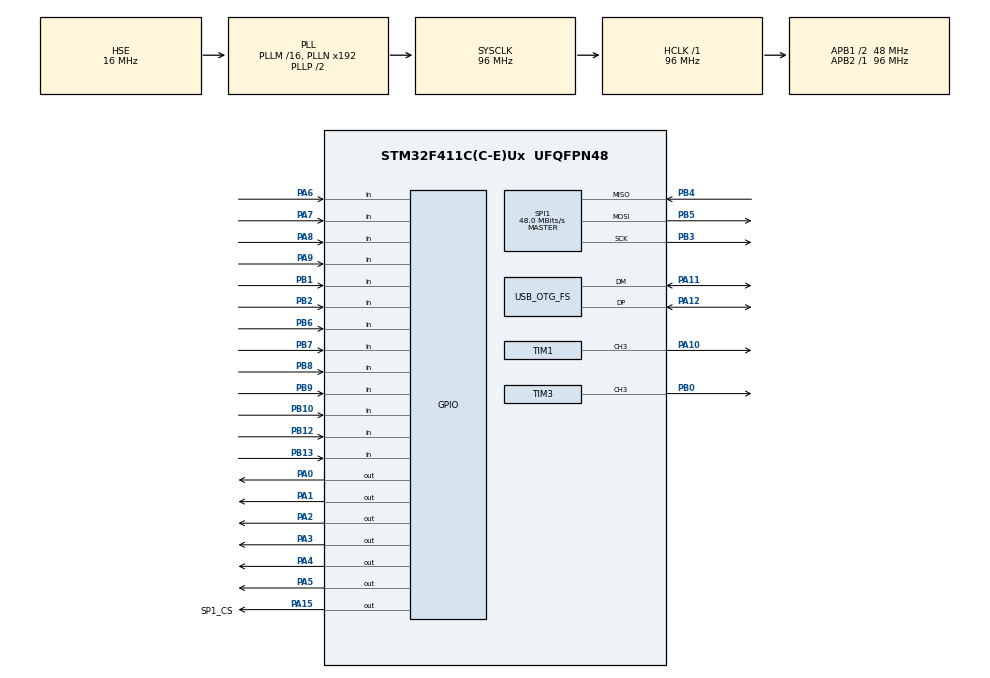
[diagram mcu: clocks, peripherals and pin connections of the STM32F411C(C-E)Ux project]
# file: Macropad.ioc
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Mcu.Family=STM32F4
Mcu.Name=STM32F411C(C-E)Ux
Mcu.Package=UFQFPN48
NVIC.OTG_FS_IRQn=true\:0\:0\:false\:false\:true\:false\:true\:true
NVIC.PriorityGroup=NVIC_PRIORITYGROUP_4
PA0-WKUP.Signal=GPIO_Output
PA1.Signal=GPIO_Output
PA10.Signal=S_TIM1_CH3
PA11.Mode=Device_Only
PA11.Signal=USB_OTG_FS_DM
PA12.Mode=Device_Only
PA12.Signal=USB_OTG_FS_DP
PA13.Mode=Serial_Wire
PA13.Signal=SYS_JTMS-SWDIO
PA14.Mode=Serial_Wire
PA14.Signal=SYS_JTCK-SWCLK
PA15.GPIO_Label=SP1_CS
PA15.Signal=GPIO_Output
PA2.Signal=GPIO_Output
PA3.Signal=GPIO_Output
PA4.Signal=GPIO_Output
PA5.Signal=GPIO_Output
PA6.Signal=GPIO_Input
PA7.Signal=GPIO_Input
PA8.Signal=GPIO_Input
PA9.Signal=GPIO_Input
PB0.Signal=S_TIM3_CH3
PB1.Signal=GPIO_Input
PB10.Signal=GPIO_Input
PB12.Signal=GPIO_Input
PB13.Signal=GPIO_Input
PB2.Signal=GPIO_Input
PB3.Mode=Full_Duplex_Master
PB3.Signal=SPI1_SCK
PB4.Mode=Full_Duplex_Master
PB4.Signal=SPI1_MISO
PB5.Mode=Full_Duplex_Master
PB5.Signal=SPI1_MOSI
PB6.Signal=GPIO_Input
PB7.Signal=GPIO_Input
PB8.Signal=GPIO_Input
PB9.Signal=GPIO_Input
PH0\ -\ OSC_IN.Mode=HSE-External-Clock-Source
PH0\ -\ OSC_IN.Signal=RCC_OSC_IN
PH1\ -\ OSC_OUT.Mode=HSE-External-Clock-Source
PH1\ -\ OSC_OUT.Signal=RCC_OSC_OUT
ProjectManager.HeapSize=0x200
ProjectManager.StackSize=0x400
ProjectManager.TargetToolchain=STM32CubeIDE
RCC.AHBFreq_Value=96000000
RCC.APB1CLKDivider=RCC_HCLK_DIV2
RCC.APB1Freq_Value=48000000
RCC.APB1TimFreq_Value=96000000
RCC.APB2Freq_Value=96000000
RCC.APB2TimFreq_Value=96000000
RCC.CortexFreq_Value=96000000
RCC.HCLKFreq_Value=96000000
RCC.HSE_VALUE=16000000
RCC.HSI_VALUE=16000000
RCC.LSE_VALUE=32768
RCC.SYSCLKFreq_VALUE=96000000
RCC.SYSCLKSource=RCC_SYSCLKSOURCE_PLLCLK
RCC.VCOOutputFreq_Value=192000000
SH.S_TIM1_CH3.0=TIM1_CH3,PWM Generation3 CH3
SH.S_TIM3_CH3.0=TIM3_CH3,PWM Generation3 CH3
SPI1.CalculateBaudRate=48.0 MBits/s
SPI1.Direction=SPI_DIRECTION_2LINES
SPI1.Mode=SPI_MODE_MASTER
SPI1.VirtualType=VM_MASTER
TIM1.Channel-PWM\ Generation3\ CH3=TIM_CHANNEL_3
TIM3.Channel-PWM\ Generation3\ CH3=TIM_CHANNEL_3
USB_DEVICE.CLASS_NAME_FS=HID
USB_DEVICE.LANGID_STRING=1031
USB_DEVICE.MANUFACTURER_STRING=nexophoenixe
USB_DEVICE.VirtualMode=Hid
USB_DEVICE.VirtualModeFS=Hid_FS
USB_OTG_FS.VirtualMode=Device_Only
VP_USB_DEVICE_VS_USB_DEVICE_HID_FS.Mode=HID_FS
board=custom

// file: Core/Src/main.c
/* USER CODE BEGIN Header */
/**
  ******************************************************************************
  * @file           : main.c
  * @brief          : Main program body
  ******************************************************************************
  * @attention
  *
  * Copyright (c) 2025 STMicroelectronics.
  * All rights reserved.
  *
  * This software is licensed under terms that can be found in the LICENSE file
  * in the root directory of this software component.
  * If no LICENSE file comes with this software, it is provided AS-IS.
  *
  ******************************************************************************
  */
/* USER CODE END Header */
#include "main.h"
#include "usb_device.h"

/* USER CODE BEGIN Includes */
#include "usbd_hid.h"
#include "macropad.h"
#include "keymap.h"
/* USER CODE END Includes */

SPI_HandleTypeDef hspi1;

TIM_HandleTypeDef htim1;
TIM_HandleTypeDef htim3;

/* USER CODE BEGIN PV */
extern USBD_HandleTypeDef hUsbDeviceFS;

//keyRepStruct KeyHIDRepStruct = {0x00, 0x00, 0x00, 0x00, 0x00, 0x00, 0x00, 0x00};

//volatile uint16_t GPIO_MASK = 0b0000000000000000;
extern USBD_HandleTypeDef hUsbDeviceFS;
keyRepStruct KeyHIDRepStruct = {0x00, 0x00, 0x00, 0x00, 0x00, 0x00, 0x00, 0x00};
volatile uint16_t GPIO_MASK = 0b0000000000000000;

/* USER CODE END PV */

void SystemClock_Config(void);
static void MX_GPIO_Init(void);
static void MX_SPI1_Init(void);
static void MX_TIM1_Init(void);
static void MX_TIM3_Init(void);

/* USER CODE BEGIN 0 */
void HID_Task(void)
{
    static uint16_t last_GPIO_MASK = 0xFFFF;

    uint16_t changed = GPIO_MASK ^ last_GPIO_MASK;
    if (!changed) return;

    KeyHIDRepStruct.MODIFIER = 0;
    KeyHIDRepStruct.KEYCODE1 = 0;
    KeyHIDRepStruct.KEYCODE2 = 0;
    KeyHIDRepStruct.KEYCODE3 = 0;
    KeyHIDRepStruct.KEYCODE4 = 0;
    KeyHIDRepStruct.KEYCODE5 = 0;
    KeyHIDRepStruct.KEYCODE6 = 0;

    for (int i = 1; i < 12; i++) {
        if (!(GPIO_MASK & MASK_Table[i])) {
            KeyHIDRepStruct.KEYCODE1 = MASK_KEYMAP[i];
            break;
        }
    }

    USBD_HID_SendReport(&hUsbDeviceFS, (uint8_t*)&KeyHIDRepStruct, sizeof(KeyHIDRepStruct));

    last_GPIO_MASK = GPIO_MASK;
}
/* USER CODE END 0 */

int main(void)
{

  /* USER CODE BEGIN 1 */

	KeyHIDRepStruct.KEYCODE1 = 0x00;

  /* USER CODE END 1 */

  /* MCU Configuration--------------------------------------------------------*/

  /* Reset of all peripherals, Initializes the Flash interface and the Systick. */
  HAL_Init();

  /* Configure the system clock */
  SystemClock_Config();

  /* Initialize all configured peripherals */
  MX_GPIO_Init();
  MX_USB_DEVICE_Init();
  MX_SPI1_Init();
  MX_TIM1_Init();
  MX_TIM3_Init();

  /* Infinite loop */
  while (1)
  {

    /* USER CODE BEGIN 3 */

	  GPIO_MASK = PORT_shifting();
	  HID_Task();
	  //hid as to be corrected again

  }
  /* USER CODE END 3 */
}

void SystemClock_Config(void)
{
  RCC_OscInitTypeDef RCC_OscInitStruct = {0};
  RCC_ClkInitTypeDef RCC_ClkInitStruct = {0};

  /** Configure the main internal regulator output voltage
  */
  __HAL_RCC_PWR_CLK_ENABLE();
  __HAL_PWR_VOLTAGESCALING_CONFIG(PWR_REGULATOR_VOLTAGE_SCALE1);

  /** Initializes the RCC Oscillators according to the specified parameters
  * in the RCC_OscInitTypeDef structure.
  */
  RCC_OscInitStruct.OscillatorType = RCC_OSCILLATORTYPE_HSE;
  RCC_OscInitStruct.HSEState = RCC_HSE_BYPASS;
  RCC_OscInitStruct.PLL.PLLState = RCC_PLL_ON;
  RCC_OscInitStruct.PLL.PLLSource = RCC_PLLSOURCE_HSE;
  RCC_OscInitStruct.PLL.PLLM = 16;
  RCC_OscInitStruct.PLL.PLLN = 192;
  RCC_OscInitStruct.PLL.PLLP = RCC_PLLP_DIV2;
  RCC_OscInitStruct.PLL.PLLQ = 4;
  if (HAL_RCC_OscConfig(&RCC_OscInitStruct) != HAL_OK)
  {
    Error_Handler();
  }

  /** Initializes the CPU, AHB and APB buses clocks
  */
  RCC_ClkInitStruct.ClockType = RCC_CLOCKTYPE_HCLK|RCC_CLOCKTYPE_SYSCLK
                              |RCC_CLOCKTYPE_PCLK1|RCC_CLOCKTYPE_PCLK2;
  RCC_ClkInitStruct.SYSCLKSource = RCC_SYSCLKSOURCE_PLLCLK;
  RCC_ClkInitStruct.AHBCLKDivider = RCC_SYSCLK_DIV1;
  RCC_ClkInitStruct.APB1CLKDivider = RCC_HCLK_DIV2;
  RCC_ClkInitStruct.APB2CLKDivider = RCC_HCLK_DIV1;

  if (HAL_RCC_ClockConfig(&RCC_ClkInitStruct, FLASH_LATENCY_3) != HAL_OK)
  {
    Error_Handler();
  }
}

static void MX_SPI1_Init(void)
{

  /* SPI1 parameter configuration*/
  hspi1.Instance = SPI1;
  hspi1.Init.Mode = SPI_MODE_MASTER;
  hspi1.Init.Direction = SPI_DIRECTION_2LINES;
  hspi1.Init.DataSize = SPI_DATASIZE_8BIT;
  hspi1.Init.CLKPolarity = SPI_POLARITY_LOW;
  hspi1.Init.CLKPhase = SPI_PHASE_1EDGE;
  hspi1.Init.NSS = SPI_NSS_SOFT;
  hspi1.Init.BaudRatePrescaler = SPI_BAUDRATEPRESCALER_2;
  hspi1.Init.FirstBit = SPI_FIRSTBIT_MSB;
  hspi1.Init.TIMode = SPI_TIMODE_DISABLE;
  hspi1.Init.CRCCalculation = SPI_CRCCALCULATION_DISABLE;
  hspi1.Init.CRCPolynomial = 10;
  if (HAL_SPI_Init(&hspi1) != HAL_OK)
  {
    Error_Handler();
  }

}

static void MX_TIM1_Init(void)
{

  TIM_MasterConfigTypeDef sMasterConfig = {0};
  TIM_OC_InitTypeDef sConfigOC = {0};
  TIM_BreakDeadTimeConfigTypeDef sBreakDeadTimeConfig = {0};

  htim1.Instance = TIM1;
  htim1.Init.Prescaler = 0;
  htim1.Init.CounterMode = TIM_COUNTERMODE_UP;
  htim1.Init.Period = 65535;
  htim1.Init.ClockDivision = TIM_CLOCKDIVISION_DIV1;
  htim1.Init.RepetitionCounter = 0;
  htim1.Init.AutoReloadPreload = TIM_AUTORELOAD_PRELOAD_DISABLE;
  if (HAL_TIM_PWM_Init(&htim1) != HAL_OK)
  {
    Error_Handler();
  }
  sMasterConfig.MasterOutputTrigger = TIM_TRGO_RESET;
  sMasterConfig.MasterSlaveMode = TIM_MASTERSLAVEMODE_DISABLE;
  if (HAL_TIMEx_MasterConfigSynchronization(&htim1, &sMasterConfig) != HAL_OK)
  {
    Error_Handler();
  }
  sConfigOC.OCMode = TIM_OCMODE_PWM1;
  sConfigOC.Pulse = 0;
  sConfigOC.OCPolarity = TIM_OCPOLARITY_HIGH;
  sConfigOC.OCNPolarity = TIM_OCNPOLARITY_HIGH;
  sConfigOC.OCFastMode = TIM_OCFAST_DISABLE;
  sConfigOC.OCIdleState = TIM_OCIDLESTATE_RESET;
  sConfigOC.OCNIdleState = TIM_OCNIDLESTATE_RESET;
  if (HAL_TIM_PWM_ConfigChannel(&htim1, &sConfigOC, TIM_CHANNEL_3) != HAL_OK)
  {
    Error_Handler();
  }
  sBreakDeadTimeConfig.OffStateRunMode = TIM_OSSR_DISABLE;
  sBreakDeadTimeConfig.OffStateIDLEMode = TIM_OSSI_DISABLE;
  sBreakDeadTimeConfig.LockLevel = TIM_LOCKLEVEL_OFF;
  sBreakDeadTimeConfig.DeadTime = 0;
  sBreakDeadTimeConfig.BreakState = TIM_BREAK_DISABLE;
  sBreakDeadTimeConfig.BreakPolarity = TIM_BREAKPOLARITY_HIGH;
  sBreakDeadTimeConfig.AutomaticOutput = TIM_AUTOMATICOUTPUT_DISABLE;
  if (HAL_TIMEx_ConfigBreakDeadTime(&htim1, &sBreakDeadTimeConfig) != HAL_OK)
  {
    Error_Handler();
  }
  HAL_TIM_MspPostInit(&htim1);

}

static void MX_TIM3_Init(void)
{

  TIM_MasterConfigTypeDef sMasterConfig = {0};
  TIM_OC_InitTypeDef sConfigOC = {0};

  htim3.Instance = TIM3;
  htim3.Init.Prescaler = 0;
  htim3.Init.CounterMode = TIM_COUNTERMODE_UP;
  htim3.Init.Period = 65535;
  htim3.Init.ClockDivision = TIM_CLOCKDIVISION_DIV1;
  htim3.Init.AutoReloadPreload = TIM_AUTORELOAD_PRELOAD_DISABLE;
  if (HAL_TIM_PWM_Init(&htim3) != HAL_OK)
  {
    Error_Handler();
  }
  sMasterConfig.MasterOutputTrigger = TIM_TRGO_RESET;
  sMasterConfig.MasterSlaveMode = TIM_MASTERSLAVEMODE_DISABLE;
  if (HAL_TIMEx_MasterConfigSynchronization(&htim3, &sMasterConfig) != HAL_OK)
  {
    Error_Handler();
  }
  sConfigOC.OCMode = TIM_OCMODE_PWM1;
  sConfigOC.Pulse = 0;
  sConfigOC.OCPolarity = TIM_OCPOLARITY_HIGH;
  sConfigOC.OCFastMode = TIM_OCFAST_DISABLE;
  if (HAL_TIM_PWM_ConfigChannel(&htim3, &sConfigOC, TIM_CHANNEL_3) != HAL_OK)
  {
    Error_Handler();
  }
  HAL_TIM_MspPostInit(&htim3);

}

static void MX_GPIO_Init(void)
{
  GPIO_InitTypeDef GPIO_InitStruct = {0};

  /* GPIO Ports Clock Enable */
  __HAL_RCC_GPIOH_CLK_ENABLE();
  __HAL_RCC_GPIOA_CLK_ENABLE();
  __HAL_RCC_GPIOB_CLK_ENABLE();

  /*Configure GPIO pin Output Level */
  HAL_GPIO_WritePin(GPIOA, GPIO_PIN_0|GPIO_PIN_1|GPIO_PIN_2|GPIO_PIN_3
                          |GPIO_PIN_4|GPIO_PIN_5|SP1_CS_Pin, GPIO_PIN_RESET);

  /*Configure GPIO pins : PA0 PA1 PA2 PA3
                           PA4 PA5 SP1_CS_Pin */
  GPIO_InitStruct.Pin = GPIO_PIN_0|GPIO_PIN_1|GPIO_PIN_2|GPIO_PIN_3
                          |GPIO_PIN_4|GPIO_PIN_5|SP1_CS_Pin;
  GPIO_InitStruct.Mode = GPIO_MODE_OUTPUT_PP;
  GPIO_InitStruct.Pull = GPIO_NOPULL;
  GPIO_InitStruct.Speed = GPIO_SPEED_FREQ_LOW;
  HAL_GPIO_Init(GPIOA, &GPIO_InitStruct);

  /*Configure GPIO pins : PA6 PA7 PA8 PA9 */
  GPIO_InitStruct.Pin = GPIO_PIN_6|GPIO_PIN_7|GPIO_PIN_8|GPIO_PIN_9;
  GPIO_InitStruct.Mode = GPIO_MODE_INPUT;
  GPIO_InitStruct.Pull = GPIO_NOPULL;
  HAL_GPIO_Init(GPIOA, &GPIO_InitStruct);

  /*Configure GPIO pins : PB1 PB2 PB10 PB12
                           PB13 PB6 PB7 PB8
                           PB9 */
  GPIO_InitStruct.Pin = GPIO_PIN_1|GPIO_PIN_2|GPIO_PIN_10|GPIO_PIN_12
                          |GPIO_PIN_13|GPIO_PIN_6|GPIO_PIN_7|GPIO_PIN_8
                          |GPIO_PIN_9;
  GPIO_InitStruct.Mode = GPIO_MODE_INPUT;
  GPIO_InitStruct.Pull = GPIO_NOPULL;
  HAL_GPIO_Init(GPIOB, &GPIO_InitStruct);

}

void Error_Handler(void)
{
  __disable_irq();
  while (1)
  {
  }
}
